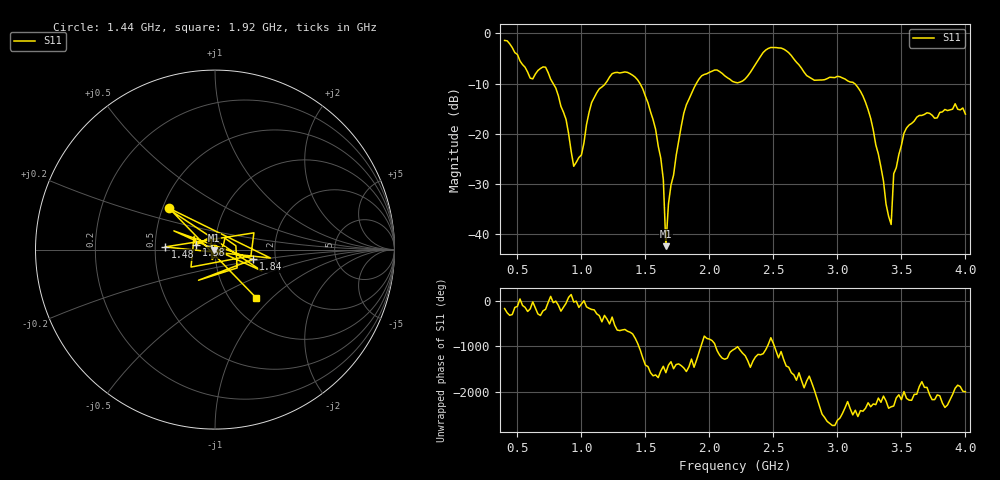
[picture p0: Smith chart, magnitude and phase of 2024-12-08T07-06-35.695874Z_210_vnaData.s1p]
!Created with skrf (http://scikit-rf.org).
# Hz S RI R 50.0
!freq ReS11 ImS11
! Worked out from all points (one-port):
!   181 points, 400 MHz to 4 GHz, reference 50 ohm
!   lowest |S11| = -42.5 dB at 1.66 GHz (marker M1), VSWR 1.02, Z = 49.4 - j0.44 ohm
!   |S11| at or under -10 dB: 779.7 MHz to 1.187 GHz (407.8 MHz wide, 41.5 % of centre); 1.457 GHz to 1.898 GHz (440.5 MHz wide, 26.3 % of centre); 3.133 GHz to end of sweep
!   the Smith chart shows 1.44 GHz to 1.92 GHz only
!   S11 on the Smith chart (normalised r, x): 1.44 GHz: 0.54, +0.28; 1.48 GHz: 0.56, +0.02; 1.58 GHz: 0.81, +0.04; 1.84 GHz: 1.53, -0.17; 1.92 GHz: 1.31, -0.80
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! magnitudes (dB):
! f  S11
! 400 MHz  -1.4
! 600 MHz  -8.9
! 720 MHz  -6.7
! 860 MHz  -15.7
! 940 MHz  -26.5
! 1 GHz  -24.3
! 1.08 GHz  -13.8
! 1.3 GHz  -7.9
! 1.44 GHz  -9.3
! 1.48 GHz  -11.1
! 1.58 GHz  -19.2
! 1.64 GHz  -29.2
! 1.66 GHz  -42.5
! 1.68 GHz  -34.1
! 1.76 GHz  -21.5
! 1.84 GHz  -13.1
! 1.92 GHz  -9.1
! 2.2 GHz  -9.8
! 2.46 GHz  -3.0
! 2.66 GHz  -5.1
! 2.82 GHz  -9.3
! 3.1 GHz  -9.7
! 3.26 GHz  -17.0
! 3.42 GHz  -38.1
! 3.44 GHz  -28.0
! 3.56 GHz  -18.3
! 3.92 GHz  -14.0
! 4 GHz  -16.1
